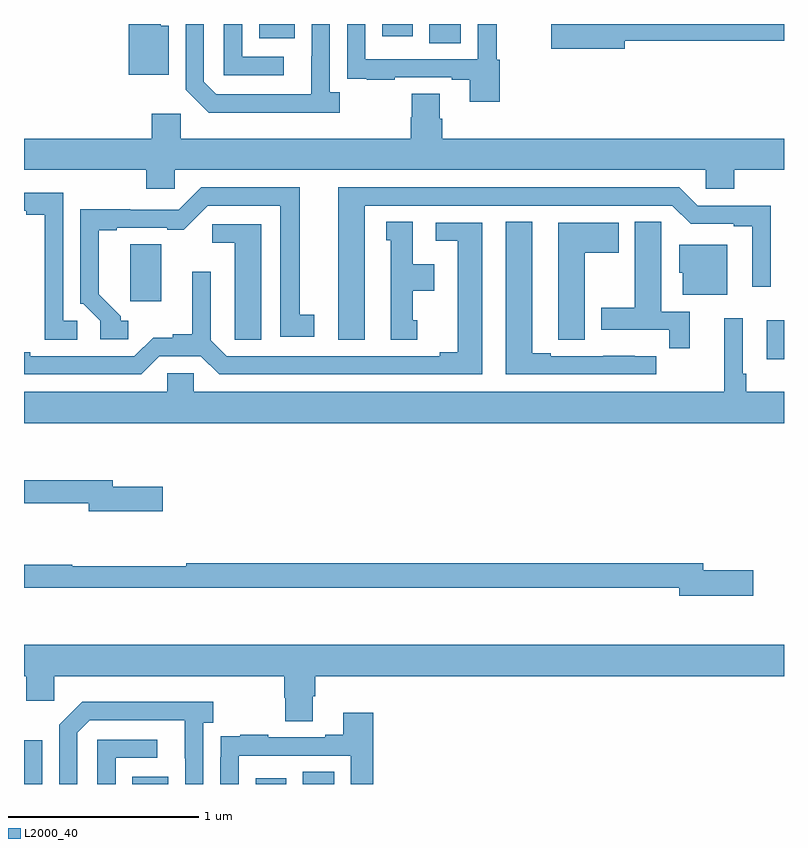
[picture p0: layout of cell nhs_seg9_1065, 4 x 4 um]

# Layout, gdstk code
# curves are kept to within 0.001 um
import gdstk
lib = gdstk.Library(unit=1e-6, precision=1e-09)
def R(c, l, rs):  # rectangles x0, y0, x1, y1
    for r in rs: c.add(gdstk.rectangle(r[:2], r[2:], *l))
def P(c, l, *ps):  # polygons
    for p in ps: c.add(gdstk.Polygon(p, *l))
L2000_40 = (2000, 40)

nhs_seg9_1065 = lib.new_cell('nhs_seg9_1065')
R(nhs_seg9_1065, L2000_40, [(169,1214.5,169.096,1214.731), (169.571,1214.5,169.759,1214.539), (170.219,1214.5,170.38,1214.53), (170.468,1214.5,170.632,1214.564), (172.91,1216.736,173,1216.942), (171.134,1218.4,171.298,1218.5), (170.237,1218.425,170.425,1218.5), (170.885,1218.435,171.046,1218.5)])
P(nhs_seg9_1065, L2000_40, [(172.162,1218.412),(173,1218.412),(173,1218.5),(171.774,1218.5),(171.774,1218.37),(172.162,1218.37)],
  [(169.762,1218.49),(169.72,1218.49),(169.72,1218.5),(169.55,1218.5),(169.55,1218.233),(169.762,1218.233)],
  [(170.662,1218.142),(170.61,1218.142),(170.61,1218.5),(170.514,1218.5),(170.513,1218.129),(170.013,1218.129),(169.947,1218.195),(169.947,1218.5),(169.851,1218.5),(169.851,1218.153),(169.972,1218.032),(170.662,1218.032)],
  [(170.368,1218.327),(170.148,1218.327),(170.148,1218.5),(170.052,1218.5),(170.052,1218.231),(170.368,1218.231)],
  [(171.503,1218.312),(171.488,1218.312),(171.488,1218.5),(171.387,1218.5),(171.387,1218.315),(170.796,1218.315),(170.796,1218.5),(170.7,1218.5),(170.7,1218.322),(170.701,1218.322),(170.701,1218.213),(170.803,1218.213),(170.803,1218.207),(170.951,1218.207),(170.951,1218.219),(171.251,1218.219),(171.251,1218.207),(171.347,1218.207),(171.347,1218.09),(171.503,1218.09)],
  [(172.587,1217.634),(172.739,1217.634),(172.739,1217.732),(173,1217.732),(173,1217.896),(171.2,1217.896),(171.2,1218.002),(171.187,1218.002),(171.187,1218.134),(171.04,1218.134),(171.04,1218.009),(171.035,1218.009),(171.035,1217.896),(169.824,1217.896),(169.824,1218.028),(169.673,1218.028),(169.673,1217.896),(169,1217.896),(169,1217.732),(169.643,1217.732),(169.643,1217.634),(169.794,1217.634),(169.794,1217.732),(172.587,1217.732)],
  [(170.794,1217.544),(172.413,1217.544),(172.509,1217.448),(172.736,1217.448),(172.736,1217.436),(172.832,1217.436),(172.832,1217.118),(172.929,1217.118),(172.929,1217.544),(172.545,1217.544),(172.449,1217.64),(170.654,1217.64),(170.654,1216.839),(170.794,1216.839)],
  [(169.549,1216.938),(169.51,1216.938),(169.51,1216.962),(169.393,1217.078),(169.393,1217.415),(169.489,1217.415),(169.489,1217.427),(169.754,1217.427),(169.754,1217.416),(169.84,1217.416),(169.968,1217.544),(170.348,1217.544),(170.348,1216.854),(170.527,1216.854),(170.527,1216.97),(170.452,1216.97),(170.452,1217.64),(169.932,1217.64),(169.815,1217.523),(169.559,1217.523),(169.559,1217.525),(169.296,1217.525),(169.296,1217.028),(169.311,1217.028),(169.401,1216.938),(169.401,1216.842),(169.549,1216.842)],
  [(169.279,1216.938),(169.206,1216.938),(169.206,1217.613),(169,1217.613),(169,1217.517),(169.013,1217.517),(169.013,1217.497),(169.109,1217.497),(169.109,1216.837),(169.279,1216.837)],
  [(172.327,1216.752),(172.214,1216.752),(172.214,1216.753),(172.048,1216.753),(172.048,1216.752),(171.772,1216.752),(171.772,1216.767),(171.676,1216.767),(171.676,1217.459),(171.536,1217.459),(171.536,1216.656),(172.327,1216.656)],
  [(172.505,1216.986),(172.354,1216.986),(172.354,1217.348),(172.353,1217.348),(172.353,1217.459),(172.214,1217.459),(172.214,1217.007),(172.037,1217.007),(172.037,1216.89),(172.396,1216.89),(172.396,1216.794),(172.505,1216.794)],
  [(171.07,1216.941),(171.046,1216.941),(171.046,1217.096),(171.16,1217.096),(171.16,1217.236),(171.046,1217.236),(171.046,1217.459),(170.906,1217.459),(170.906,1217.361),(170.93,1217.361),(170.93,1216.839),(171.07,1216.839)],
  [(171.952,1217.296),(172.129,1217.296),(172.129,1217.455),(171.812,1217.455),(171.812,1216.945),(171.813,1216.945),(171.813,1216.837),(171.952,1216.837)],
  [(169.713,1216.752),(169.931,1216.752),(170.027,1216.656),(171.412,1216.656),(171.412,1217.454),(171.168,1217.454),(171.168,1217.358),(171.284,1217.358),(171.284,1216.772),(171.188,1216.772),(171.188,1216.752),(170.067,1216.752),(169.983,1216.836),(169.983,1217.197),(169.886,1217.197),(169.886,1216.868),(169.782,1216.868),(169.782,1216.85),(169.679,1216.85),(169.581,1216.752),(169.033,1216.752),(169.033,1216.772),(169,1216.772),(169,1216.656),(169.617,1216.656)],
  [(170.248,1217.445),(169.992,1217.445),(169.992,1217.348),(170.108,1217.348),(170.108,1216.945),(170.109,1216.945),(170.109,1216.837),(170.248,1216.837)],
  [(169.723,1217.184),(169.722,1217.184),(169.722,1217.342),(169.559,1217.342),(169.559,1217.04),(169.723,1217.04)],
  [(172.702,1217.338),(172.448,1217.338),(172.448,1217.19),(172.466,1217.19),(172.466,1217.075),(172.702,1217.075)],
  [(173,1216.564),(172.802,1216.564),(172.802,1216.66),(172.782,1216.66),(172.782,1216.951),(172.685,1216.951),(172.685,1216.564),(169.893,1216.564),(169.893,1216.662),(169.755,1216.662),(169.755,1216.564),(169,1216.564),(169,1216.4),(173,1216.4)],
  [(169.729,1216.065),(169.468,1216.065),(169.468,1216.099),(169,1216.099),(169,1215.978),(169.34,1215.978),(169.34,1215.935),(169.729,1215.935)],
  [(172.837,1215.626),(172.576,1215.626),(172.576,1215.662),(169.853,1215.662),(169.853,1215.647),(169.253,1215.647),(169.253,1215.655),(169,1215.655),(169,1215.534),(172.448,1215.534),(172.448,1215.491),(172.837,1215.491)],
  [(170.521,1214.962),(170.534,1214.962),(170.534,1215.068),(173,1215.068),(173,1215.232),(169,1215.232),(169,1215.068),(169.012,1215.068),(169.012,1214.937),(169.158,1214.937),(169.158,1215.068),(170.369,1215.068),(170.369,1214.955),(170.374,1214.955),(170.374,1214.83),(170.521,1214.83)],
  [(169.281,1214.769),(169.347,1214.835),(169.847,1214.835),(169.848,1214.5),(169.944,1214.5),(169.944,1214.822),(169.996,1214.822),(169.996,1214.932),(169.306,1214.932),(169.185,1214.811),(169.185,1214.5),(169.281,1214.5)],
  [(170.13,1214.649),(170.721,1214.649),(170.721,1214.5),(170.837,1214.5),(170.837,1214.875),(170.681,1214.875),(170.681,1214.758),(170.585,1214.758),(170.585,1214.745),(170.285,1214.745),(170.285,1214.758),(170.137,1214.758),(170.137,1214.751),(170.035,1214.751),(170.035,1214.642),(170.034,1214.642),(170.034,1214.5),(170.13,1214.5)],
  [(169.482,1214.637),(169.702,1214.637),(169.702,1214.733),(169.386,1214.733),(169.386,1214.5),(169.482,1214.5)])

lib.write_gds('nhs_seg9_1065.gds')
